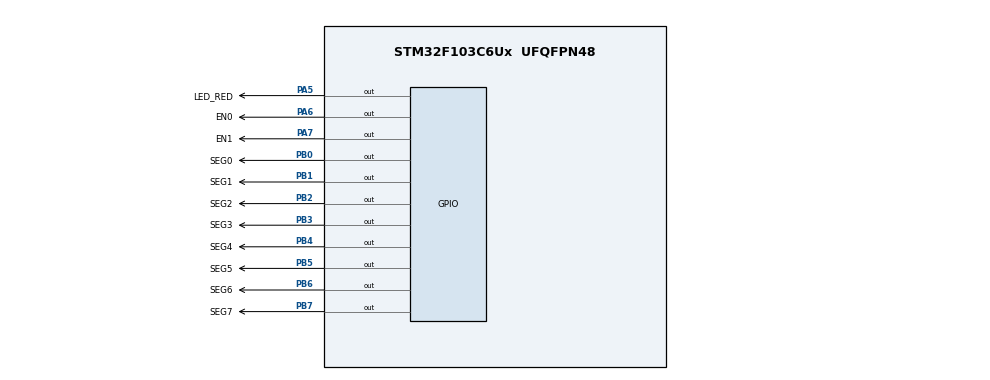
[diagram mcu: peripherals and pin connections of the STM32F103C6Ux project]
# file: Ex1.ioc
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Mcu.Family=STM32F1
Mcu.Name=STM32F103C6Ux
Mcu.Package=UFQFPN48
NVIC.PriorityGroup=NVIC_PRIORITYGROUP_4
NVIC.TIM2_IRQn=true\:0\:0\:false\:false\:true\:true\:true
PA5.GPIO_Label=LED_RED
PA5.Signal=GPIO_Output
PA6.GPIO_Label=EN0
PA6.Signal=GPIO_Output
PA7.GPIO_Label=EN1
PA7.Signal=GPIO_Output
PB0.GPIO_Label=SEG0
PB0.Signal=GPIO_Output
PB1.GPIO_Label=SEG1
PB1.Signal=GPIO_Output
PB2.GPIO_Label=SEG2
PB2.Signal=GPIO_Output
PB3.GPIO_Label=SEG3
PB3.Signal=GPIO_Output
PB4.GPIO_Label=SEG4
PB4.Signal=GPIO_Output
PB5.GPIO_Label=SEG5
PB5.Signal=GPIO_Output
PB6.GPIO_Label=SEG6
PB6.Signal=GPIO_Output
PB7.GPIO_Label=SEG7
PB7.Signal=GPIO_Output
ProjectManager.HeapSize=0x200
ProjectManager.StackSize=0x400
ProjectManager.TargetToolchain=STM32CubeIDE
RCC.APB1Freq_Value=8000000
RCC.APB2Freq_Value=8000000
TIM2.Period=9
TIM2.Prescaler=7999
VP_SYS_VS_ND.Mode=No_Debug
VP_TIM2_VS_ClockSourceINT.Mode=Internal
board=custom

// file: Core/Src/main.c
/* USER CODE BEGIN Header */
/**
  ******************************************************************************
  * @file           : main.c
  * @brief          : Main program body
  ******************************************************************************
  * @attention
  *
  * <h2><center>&copy; Copyright (c) 2024 STMicroelectronics.
  * All rights reserved.</center></h2>
  *
  * This software component is licensed by ST under BSD 3-Clause license,
  * the "License"; You may not use this file except in compliance with the
  * License. You may obtain a copy of the License at:
  *                        opensource.org/licenses/BSD-3-Clause
  *
  ******************************************************************************
  */
/* USER CODE END Header */
#include "main.h"

TIM_HandleTypeDef htim2;

void SystemClock_Config(void);
static void MX_GPIO_Init(void);
static void MX_TIM2_Init(void);

/* USER CODE BEGIN 0 */
void display7SEG(int num) {
	switch (num) {
		case 0:
			HAL_GPIO_WritePin(GPIOB, 0B0111111, GPIO_PIN_RESET);
			HAL_GPIO_WritePin(GPIOB, 0B1000000, GPIO_PIN_SET);
			break;
		case 1:
			HAL_GPIO_WritePin(GPIOB, 0B0000110, GPIO_PIN_RESET);
			HAL_GPIO_WritePin(GPIOB, 0B1111001, GPIO_PIN_SET);
			break;
		case 2:
			HAL_GPIO_WritePin(GPIOB, 0B1011011, GPIO_PIN_RESET);
			HAL_GPIO_WritePin(GPIOB, 0B0100100, GPIO_PIN_SET);
			break;
		case 3:
			HAL_GPIO_WritePin(GPIOB, 0B1001111, GPIO_PIN_RESET);
			HAL_GPIO_WritePin(GPIOB, 0B0110000, GPIO_PIN_SET);
			break;
		case 4:
			HAL_GPIO_WritePin(GPIOB, 0B1100110, GPIO_PIN_RESET);
			HAL_GPIO_WritePin(GPIOB, 0B0011001, GPIO_PIN_SET);
			break;
		case 5:
			HAL_GPIO_WritePin(GPIOB, 0B1101101, GPIO_PIN_RESET);
			HAL_GPIO_WritePin(GPIOB, 0B0010010, GPIO_PIN_SET);
			break;
		case 6:
			HAL_GPIO_WritePin(GPIOB, 0B1111101, GPIO_PIN_RESET);
			HAL_GPIO_WritePin(GPIOB, 0B0000010, GPIO_PIN_SET);
			break;
		case 7:
			HAL_GPIO_WritePin(GPIOB, 0B0000111, GPIO_PIN_RESET);
			HAL_GPIO_WritePin(GPIOB, 0B1111000, GPIO_PIN_SET);
			break;
		case 8:
			HAL_GPIO_WritePin(GPIOB, 0B1111111, GPIO_PIN_RESET);
			break;
		case 9:
			HAL_GPIO_WritePin(GPIOB, 0B1101111, GPIO_PIN_RESET);
			HAL_GPIO_WritePin(GPIOB, 0B0010000, GPIO_PIN_SET);
			break;
		default:
			HAL_GPIO_WritePin(GPIOB, 0B1111111, GPIO_PIN_SET);
			break;
	}
}
/* USER CODE END 0 */

int main(void)
{

  /* MCU Configuration--------------------------------------------------------*/

  /* Reset of all peripherals, Initializes the Flash interface and the Systick. */
  HAL_Init();

  /* Configure the system clock */
  SystemClock_Config();

  /* Initialize all configured peripherals */
  MX_GPIO_Init();
  MX_TIM2_Init();
  /* USER CODE BEGIN 2 */
  HAL_TIM_Base_Start_IT(&htim2);
  /* USER CODE END 2 */

  /* Infinite loop */
  while (1)
  {

  }
}

void SystemClock_Config(void)
{
  RCC_OscInitTypeDef RCC_OscInitStruct = {0};
  RCC_ClkInitTypeDef RCC_ClkInitStruct = {0};

  /** Initializes the RCC Oscillators according to the specified parameters
  * in the RCC_OscInitTypeDef structure.
  */
  RCC_OscInitStruct.OscillatorType = RCC_OSCILLATORTYPE_HSI;
  RCC_OscInitStruct.HSIState = RCC_HSI_ON;
  RCC_OscInitStruct.HSICalibrationValue = RCC_HSICALIBRATION_DEFAULT;
  RCC_OscInitStruct.PLL.PLLState = RCC_PLL_NONE;
  if (HAL_RCC_OscConfig(&RCC_OscInitStruct) != HAL_OK)
  {
    Error_Handler();
  }
  /** Initializes the CPU, AHB and APB buses clocks
  */
  RCC_ClkInitStruct.ClockType = RCC_CLOCKTYPE_HCLK|RCC_CLOCKTYPE_SYSCLK
                              |RCC_CLOCKTYPE_PCLK1|RCC_CLOCKTYPE_PCLK2;
  RCC_ClkInitStruct.SYSCLKSource = RCC_SYSCLKSOURCE_HSI;
  RCC_ClkInitStruct.AHBCLKDivider = RCC_SYSCLK_DIV1;
  RCC_ClkInitStruct.APB1CLKDivider = RCC_HCLK_DIV1;
  RCC_ClkInitStruct.APB2CLKDivider = RCC_HCLK_DIV1;

  if (HAL_RCC_ClockConfig(&RCC_ClkInitStruct, FLASH_LATENCY_0) != HAL_OK)
  {
    Error_Handler();
  }
}

static void MX_TIM2_Init(void)
{

  TIM_ClockConfigTypeDef sClockSourceConfig = {0};
  TIM_MasterConfigTypeDef sMasterConfig = {0};

  htim2.Instance = TIM2;
  htim2.Init.Prescaler = 7999;
  htim2.Init.CounterMode = TIM_COUNTERMODE_UP;
  htim2.Init.Period = 9;
  htim2.Init.ClockDivision = TIM_CLOCKDIVISION_DIV1;
  htim2.Init.AutoReloadPreload = TIM_AUTORELOAD_PRELOAD_DISABLE;
  if (HAL_TIM_Base_Init(&htim2) != HAL_OK)
  {
    Error_Handler();
  }
  sClockSourceConfig.ClockSource = TIM_CLOCKSOURCE_INTERNAL;
  if (HAL_TIM_ConfigClockSource(&htim2, &sClockSourceConfig) != HAL_OK)
  {
    Error_Handler();
  }
  sMasterConfig.MasterOutputTrigger = TIM_TRGO_RESET;
  sMasterConfig.MasterSlaveMode = TIM_MASTERSLAVEMODE_DISABLE;
  if (HAL_TIMEx_MasterConfigSynchronization(&htim2, &sMasterConfig) != HAL_OK)
  {
    Error_Handler();
  }

}

static void MX_GPIO_Init(void)
{
  GPIO_InitTypeDef GPIO_InitStruct = {0};

  /* GPIO Ports Clock Enable */
  __HAL_RCC_GPIOA_CLK_ENABLE();
  __HAL_RCC_GPIOB_CLK_ENABLE();

  /*Configure GPIO pin Output Level */
  HAL_GPIO_WritePin(GPIOA, LED_RED_Pin|EN0_Pin|EN1_Pin, GPIO_PIN_RESET);

  /*Configure GPIO pin Output Level */
  HAL_GPIO_WritePin(GPIOB, SEG0_Pin|SEG1_Pin|SEG2_Pin|SEG3_Pin
                          |SEG4_Pin|SEG5_Pin|SEG6_Pin|SEG7_Pin, GPIO_PIN_RESET);

  /*Configure GPIO pins : LED_RED_Pin EN0_Pin EN1_Pin */
  GPIO_InitStruct.Pin = LED_RED_Pin|EN0_Pin|EN1_Pin;
  GPIO_InitStruct.Mode = GPIO_MODE_OUTPUT_PP;
  GPIO_InitStruct.Pull = GPIO_NOPULL;
  GPIO_InitStruct.Speed = GPIO_SPEED_FREQ_LOW;
  HAL_GPIO_Init(GPIOA, &GPIO_InitStruct);

  /*Configure GPIO pins : SEG0_Pin SEG1_Pin SEG2_Pin SEG3_Pin
                           SEG4_Pin SEG5_Pin SEG6_Pin SEG7_Pin */
  GPIO_InitStruct.Pin = SEG0_Pin|SEG1_Pin|SEG2_Pin|SEG3_Pin
                          |SEG4_Pin|SEG5_Pin|SEG6_Pin|SEG7_Pin;
  GPIO_InitStruct.Mode = GPIO_MODE_OUTPUT_PP;
  GPIO_InitStruct.Pull = GPIO_NOPULL;
  GPIO_InitStruct.Speed = GPIO_SPEED_FREQ_LOW;
  HAL_GPIO_Init(GPIOB, &GPIO_InitStruct);

}

/* USER CODE BEGIN 4 */
int counter = 100;
void HAL_TIM_PeriodElapsedCallback(TIM_HandleTypeDef *htim){
	// Blink the LED every second
	if(counter <= 0){
		counter = 100;
		HAL_GPIO_TogglePin(LED_RED_GPIO_Port, LED_RED_Pin);
	}

 	// Display number 1 on the 1st 7seg
 	if (counter >= 50) {
		HAL_GPIO_WritePin(EN0_GPIO_Port, EN0_Pin, GPIO_PIN_RESET);
		HAL_GPIO_WritePin(EN1_GPIO_Port, EN1_Pin, GPIO_PIN_SET);
		display7SEG(1);
	}
 	// Display number 2 on the 2nd 7seg
	else {
		HAL_GPIO_WritePin(EN0_GPIO_Port, EN0_Pin, GPIO_PIN_SET);
		HAL_GPIO_WritePin(EN1_GPIO_Port, EN1_Pin, GPIO_PIN_RESET);
		display7SEG(2);
	}
 	counter--;
}
/* USER CODE END 4 */

void Error_Handler(void)
{
  __disable_irq();
  while (1)
  {
  }
}

/************************ (C) COPYRIGHT STMicroelectronics *****END OF FILE****/
